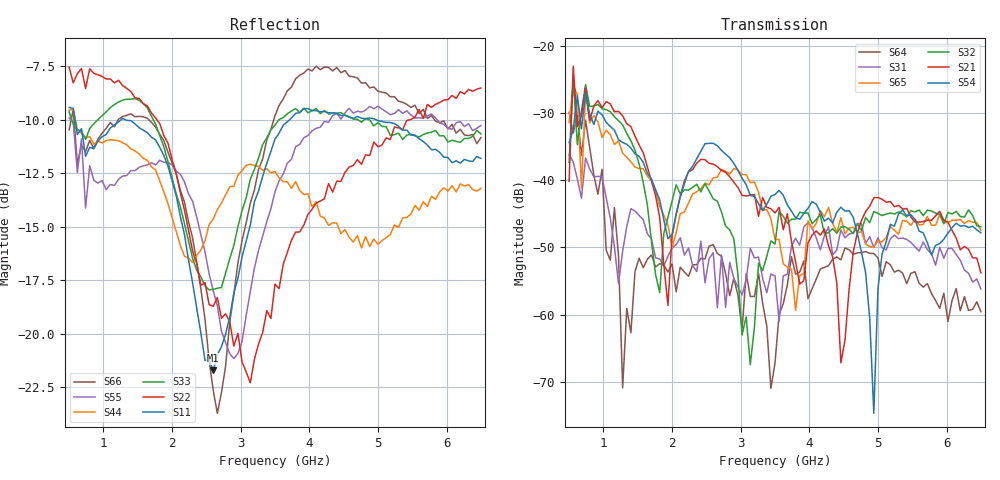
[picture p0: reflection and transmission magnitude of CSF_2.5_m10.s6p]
!Keysight Technologies,M9804A,MY58100912,A.14.10.03
!Date: Thursday, April 27, 2023 10:28:33
!Correction: S11(C  6-Port  )
!S12(C  6-Port  )
!S13(C  6-Port  )
!S14(C  6-Port  )
!S15(C  6-Port  )
!S16(C  6-Port  )
!S21(C  6-Port  )
!S22(C  6-Port  )
!S23(C  6-Port  )
!S24(C  6-Port  )
!S25(C  6-Port  )
!S26(C  6-Port  )
!S31(C  6-Port  )
!S32(C  6-Port  )
!S33(C  6-Port  )
!S34(C  6-Port  )
!S35(C  6-Port  )
!S36(C  6-Port  )
!S41(C  6-Port  )
!S42(C  6-Port  )
!S43(C  6-Port  )
!S44(C  6-Port  )
!S45(C  6-Port  )
!S46(C  6-Port  )
!S51(C  6-Port  )
!S52(C  6-Port  )
!S53(C  6-Port  )
!S54(C  6-Port  )
!S55(C  6-Port  )
!S56(C  6-Port  )
!S61(C  6-Port  )
!S62(C  6-Port  )
!S63(C  6-Port  )
!S64(C  6-Port  )
!S65(C  6-Port  )
!S66(C  6-Port  )
!S6P File: Measurement: :
# Hz S  RI  R 50
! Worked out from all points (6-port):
!   101 points, 500 MHz to 6.5 GHz, reference 50 ohm
!   strongest paths, dB at 500 MHz, 2 GHz, 3.5 GHz, 5 GHz, 6.5 GHz:
!     S54: -34.4, -48.1, -42.1, -56.2, -47.8
!     S21: -40.1, -48.3, -44.9, -42.6, -53.8
!     S32: -37.3, -43.1, -49.5, -44.9, -46.9
!     S65: -31.4, -50.0, -48.8, -49.0, -47.5
!     S31: -36.2, -50.1, -54.2, -48.6, -56.2
!     S64: -29.9, -52.5, -67.2, -51.6, -59.6
!   lowest |S11| = -21.7 dB at 2.6 GHz (marker M1), VSWR 1.18, Z = 42.7 + j1.96 ohm
!   |S11| at or under -10 dB: 585.7 MHz to 1.259 GHz (673 MHz wide, 73 % of centre); 1.318 GHz to 3.715 GHz (2.397 GHz wide, 95.3 % of centre); 4.968 GHz to end of sweep
